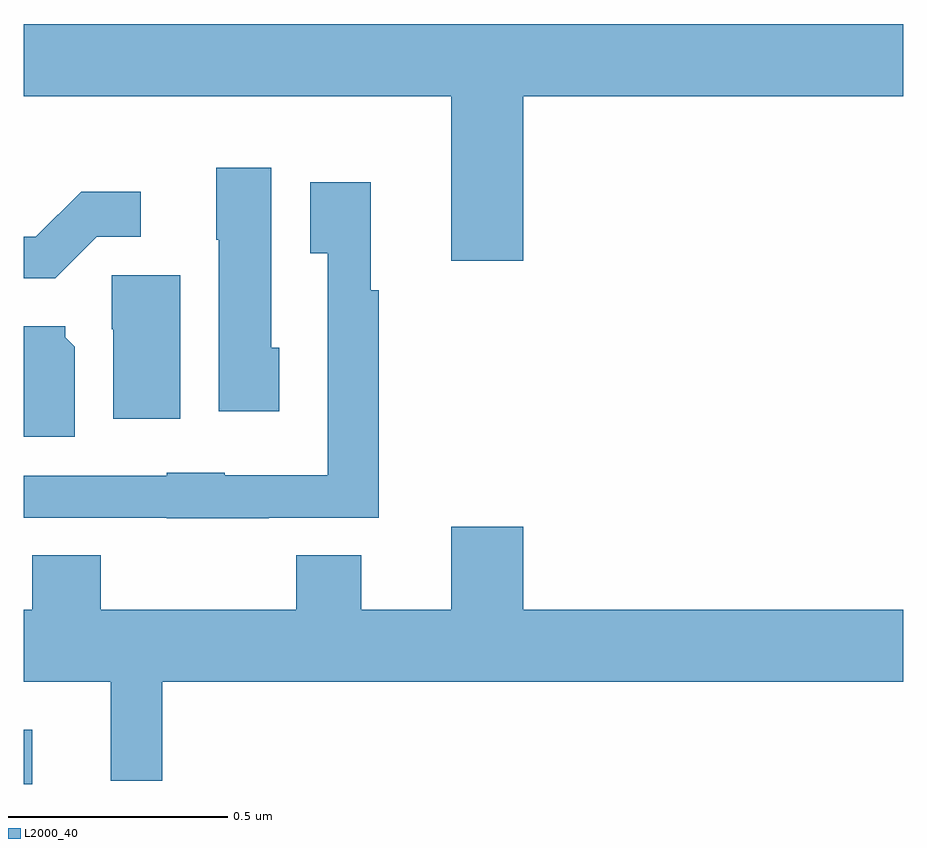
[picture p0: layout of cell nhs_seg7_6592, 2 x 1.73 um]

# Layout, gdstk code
import gdstk
lib = gdstk.Library(unit=1e-6, precision=1e-09)
def R(c, l, rs):  # rectangles x0, y0, x1, y1
    for r in rs: c.add(gdstk.rectangle(r[:2], r[2:], *l))
def P(c, l, *ps):  # polygons
    for p in ps: c.add(gdstk.Polygon(p, *l))
L2000_40 = (2000, 40)

nhs_seg7_6592 = lib.new_cell('nhs_seg7_6592')
R(nhs_seg7_6592, L2000_40, [(200,1051,200.019,1051.123)])
P(nhs_seg7_6592, L2000_40, [(201.136,1052.564),(202,1052.564),(202,1052.728),(200,1052.728),(200,1052.564),(200.972,1052.564),(200.972,1052.19),(201.136,1052.19)],
  [(200.581,1051.992),(200.563,1051.992),(200.563,1052.401),(200.438,1052.401),(200.438,1052.238),(200.444,1052.238),(200.444,1051.848),(200.581,1051.848)],
  [(200.557,1051.605),(200.807,1051.605),(200.807,1052.123),(200.789,1052.123),(200.789,1052.368),(200.651,1052.368),(200.651,1052.207),(200.691,1052.207),(200.691,1051.702),(200.457,1051.702),(200.457,1051.708),(200.325,1051.708),(200.325,1051.701),(200,1051.701),(200,1051.605),(200.325,1051.605),(200.325,1051.604),(200.557,1051.604)],
  [(200.166,1052.244),(200.266,1052.244),(200.266,1052.347),(200.131,1052.347),(200.028,1052.244),(200,1052.244),(200,1052.15),(200.072,1052.15)],
  [(200.356,1052.157),(200.2,1052.157),(200.2,1052.034),(200.204,1052.034),(200.204,1051.83),(200.356,1051.83)],
  [(200.116,1051.994),(200.094,1052.016),(200.094,1052.041),(200,1052.041),(200,1051.79),(200.116,1051.79)],
  [(200.315,1051.232),(202,1051.232),(202,1051.396),(201.136,1051.396),(201.136,1051.585),(200.972,1051.585),(200.972,1051.396),(200.767,1051.396),(200.767,1051.52),(200.62,1051.52),(200.62,1051.396),(200.175,1051.396),(200.175,1051.52),(200.02,1051.52),(200.02,1051.396),(200,1051.396),(200,1051.232),(200.198,1051.232),(200.198,1051.007),(200.315,1051.007)])

lib.write_gds('nhs_seg7_6592.gds')
